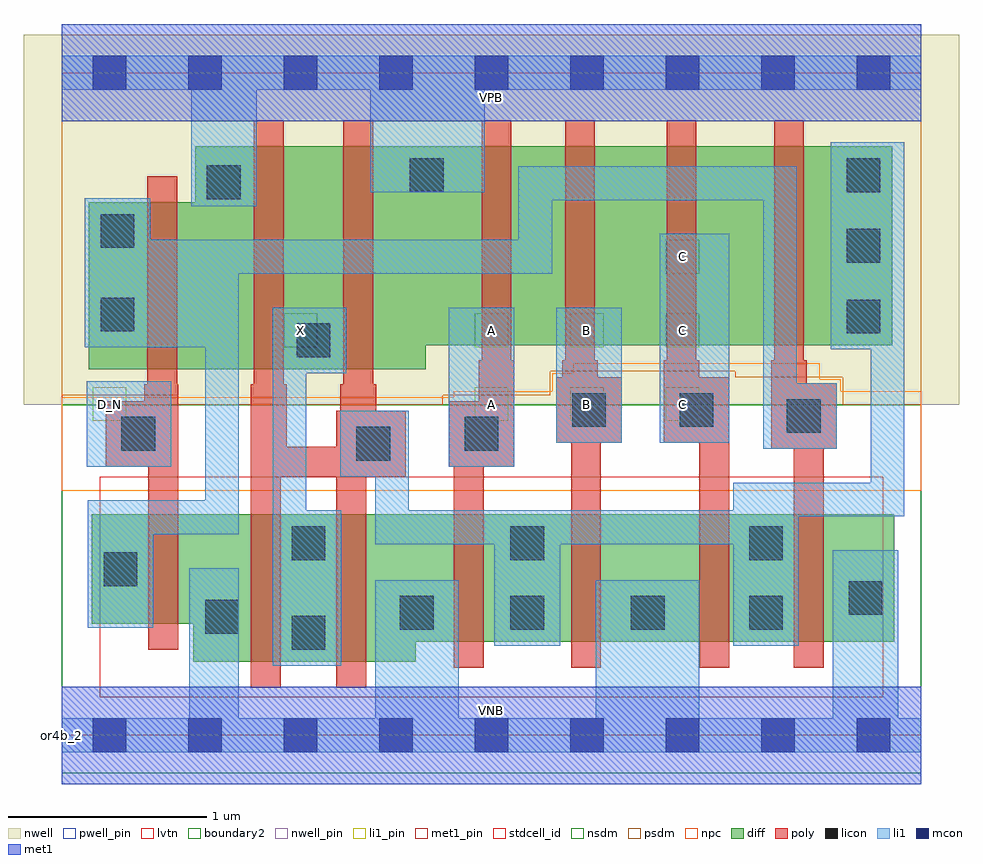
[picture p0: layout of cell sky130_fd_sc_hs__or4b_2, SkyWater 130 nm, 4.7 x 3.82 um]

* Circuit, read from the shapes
.subckt sky130_fd_sc_hs__or4b_2 A B C D_N VGND VNB VPB VPWR X
XM1 VGND D_N n1 VNB sky130_fd_pr__nfet_01v8_lvt w=0.55 l=0.15
XM2 X n2 VGND VNB sky130_fd_pr__nfet_01v8_lvt w=0.74 l=0.15 m=2
XM3 n2 A VGND VNB sky130_fd_pr__nfet_01v8_lvt w=0.64 l=0.15
XM4 VGND B n2 VNB sky130_fd_pr__nfet_01v8_lvt w=0.64 l=0.15
XM5 n2 C VGND VNB sky130_fd_pr__nfet_01v8_lvt w=0.64 l=0.15
XM6 VGND n1 n2 VNB sky130_fd_pr__nfet_01v8_lvt w=0.64 l=0.15
XM7 VPWR D_N n1 VPB sky130_fd_pr__pfet_01v8 w=0.84 l=0.15
XM8 X n2 VPWR VPB sky130_fd_pr__pfet_01v8 w=1.12 l=0.15 m=2
XM9 n3 A VPWR VPB sky130_fd_pr__pfet_01v8 w=1 l=0.15
XM10 n4 B n3 VPB sky130_fd_pr__pfet_01v8 w=1 l=0.15
XM11 n5 C n4 VPB sky130_fd_pr__pfet_01v8 w=1 l=0.15
XM12 n2 n1 n5 VPB sky130_fd_pr__pfet_01v8 w=1 l=0.15
.ends

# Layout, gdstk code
import gdstk
lib = gdstk.Library(unit=1e-6, precision=1e-09)
def R(c, l, rs):  # rectangles x0, y0, x1, y1
    for r in rs: c.add(gdstk.rectangle(r[:2], r[2:], *l))
def A(c, l, x, y, w, h, nx, ny, dx, dy):  # array of equal rectangles
    R(c, l, [(x+i*dx, y+j*dy, x+i*dx+w, y+j*dy+h) for i in range(nx) for j in range(ny)])
def P(c, l, *ps):  # polygons
    for p in ps: c.add(gdstk.Polygon(p, *l))
nwell_pin = (64, 16)
nwell = (64, 20)
diff = (65, 20)
poly = (66, 20)
licon = (66, 44)
li1_pin = (67, 16)
li1 = (67, 20)
mcon = (67, 44)
met1_pin = (68, 16)
met1 = (68, 20)
stdcell_id = (81, 4)
nsdm = (93, 44)
psdm = (94, 20)
npc = (95, 20)
pwell_pin = (122, 16)
lvtn = (125, 44)
boundary2 = (236, 0)

sky130_fd_sc_hs__or4b_2 = lib.new_cell('sky130_fd_sc_hs__or4b_2')
R(sky130_fd_sc_hs__or4b_2, nwell_pin, [(0,3.085,4.32,3.33)])
R(sky130_fd_sc_hs__or4b_2, nwell, [(-0.19,1.66,4.51,3.52)])
P(sky130_fd_sc_hs__or4b_2, diff, [(4.175,2.96),(0.67,2.96),(0.67,2.68),(0.135,2.68),(0.135,1.84),(1.83,1.84),(1.83,1.96),(4.175,1.96)],
  [(4.185,1.11),(0.15,1.11),(0.15,0.56),(0.66,0.56),(0.66,0.37),(1.78,0.37),(1.78,0.47),(4.185,0.47)])
P(sky130_fd_sc_hs__or4b_2, poly, [(3.895,1.77),(3.745,1.77),(3.745,1.885),(3.73,1.885),(3.73,3.09),(3.58,3.09),(3.58,1.885),(3.565,1.885),(3.565,1.44),(3.68,1.44),(3.68,0.34),(3.83,0.34),(3.83,1.44),(3.895,1.44)],
  [(3.355,1.8),(3.205,1.8),(3.205,1.885),(3.19,1.885),(3.19,3.09),(3.04,3.09),(3.04,1.885),(3.025,1.885),(3.025,1.47),(3.205,1.47),(3.205,0.34),(3.355,0.34)],
  [(2.815,1.8),(2.695,1.8),(2.695,1.885),(2.68,1.885),(2.68,3.09),(2.53,3.09),(2.53,1.885),(2.515,1.885),(2.515,1.8),(2.485,1.8),(2.485,1.47),(2.56,1.47),(2.56,0.34),(2.71,0.34),(2.71,1.47),(2.815,1.47)],
  [(2.275,1.885),(2.26,1.885),(2.26,3.09),(2.11,3.09),(2.11,1.885),(2.095,1.885),(2.095,1.68),(1.945,1.68),(1.945,1.35),(1.97,1.35),(1.97,0.34),(2.12,0.34),(2.12,1.35),(2.275,1.35)],
  [(1.73,1.63),(1.58,1.63),(1.58,1.765),(1.565,1.765),(1.565,3.09),(1.415,3.09),(1.415,1.765),(1.4,1.765),(1.4,1.63),(1.38,1.63),(1.38,1.45),(1.13,1.45),(1.13,1.765),(1.115,1.765),(1.115,3.09),(0.965,3.09),(0.965,1.765),(0.95,1.765),(0.95,0.24),(1.1,0.24),(1.1,1.3),(1.38,1.3),(1.38,0.24),(1.53,0.24),(1.53,1.3),(1.73,1.3)],
  [(0.585,1.765),(0.58,1.765),(0.58,2.81),(0.43,2.81),(0.43,1.765),(0.415,1.765),(0.415,1.68),(0.22,1.68),(0.22,1.35),(0.435,1.35),(0.435,0.43),(0.585,0.43)])
A(sky130_fd_sc_hs__or4b_2, licon, 3.945, 2.02, 0.17, 0.17, 1, 3, 0, 0.355)
R(sky130_fd_sc_hs__or4b_2, licon, [(1.155,0.43,1.325,0.6), (0.72,0.51,0.89,0.68), (1.7,0.53,1.87,0.7), (2.255,0.53,2.425,0.7), (2.86,0.53,3.03,0.7), (3.455,0.53,3.625,0.7), (3.955,0.605,4.125,0.775), (0.21,0.75,0.38,0.92), (1.155,0.88,1.325,1.05), (2.255,0.88,2.425,1.05), (3.455,0.88,3.625,1.05), (1.48,1.38,1.65,1.55), (0.3,1.43,0.47,1.6), (2.025,1.43,2.195,1.6), (3.645,1.52,3.815,1.69), (2.565,1.55,2.735,1.72), (3.105,1.55,3.275,1.72), (1.18,1.9,1.35,2.07), (0.195,2.03,0.365,2.2), (0.195,2.45,0.365,2.62), (0.73,2.695,0.9,2.865), (1.75,2.73,1.92,2.9)])
A(sky130_fd_sc_hs__or4b_2, li1_pin, 2.075, 1.58, 0.17, 0.17, 3, 2, 0.48, 0.37)
R(sky130_fd_sc_hs__or4b_2, li1_pin, [(0.155,1.58,0.325,1.75), (1.115,1.95,1.285,2.12), (3.035,2.32,3.205,2.49)])
R(sky130_fd_sc_hs__or4b_2, li1, [(0.125,1.35,0.55,1.78), (1.945,1.35,2.275,2.15), (2.485,1.47,2.815,2.15), (3.005,1.47,3.355,2.52)])
P(sky130_fd_sc_hs__or4b_2, li1, [(0,-0.085),(0,0.085),(0.64,0.085),(0.64,0.84),(0.89,0.84),(0.89,0.085),(1.575,0.085),(1.575,0.78),(1.995,0.78),(1.995,0.085),(2.685,0.085),(2.685,0.78),(3.205,0.78),(3.205,0.085),(3.875,0.085),(3.875,0.93),(4.205,0.93),(4.205,0.085),(4.32,0.085),(4.32,-0.085)],
  [(0,3.245),(0,3.415),(4.32,3.415),(4.32,3.245),(2.125,3.245),(2.125,2.73),(1.55,2.73),(1.55,3.245),(0.98,3.245),(0.98,2.66),(0.65,2.66),(0.65,3.245)],
  [(1.43,2.15),(1.43,1.82),(1.23,1.82),(1.23,1.13),(1.405,1.13),(1.405,0.35),(1.06,0.35),(1.06,2.15)],
  [(0.445,2.49),(2.295,2.49),(2.295,2.86),(3.695,2.86),(3.695,1.77),(3.895,1.77),(3.895,1.44),(3.525,1.44),(3.525,2.69),(2.465,2.69),(2.465,2.32),(0.89,2.32),(0.89,1.01),(0.46,1.01),(0.46,0.54),(0.13,0.54),(0.13,1.18),(0.72,1.18),(0.72,1.95),(0.115,1.95),(0.115,2.7),(0.445,2.7)],
  [(4.065,1.27),(4.065,1.94),(3.865,1.94),(3.865,2.98),(4.235,2.98),(4.235,1.1),(3.705,1.1),(3.705,0.45),(3.375,0.45),(3.375,0.96),(2.505,0.96),(2.505,0.45),(2.175,0.45),(2.175,0.96),(1.575,0.96),(1.575,1.3),(1.4,1.3),(1.4,1.63),(1.745,1.63),(1.745,1.13),(3.375,1.13),(3.375,1.27)])
A(sky130_fd_sc_hs__or4b_2, mcon, 0.155, -0.085, 0.17, 0.17, 9, 2, 0.48, 3.33)
R(sky130_fd_sc_hs__or4b_2, met1_pin, [(0,0,4.32,0.245), (0,3.085,4.32,3.33)])
R(sky130_fd_sc_hs__or4b_2, met1, [(0,-0.245,4.32,0.245), (0,3.085,4.32,3.575)])
R(sky130_fd_sc_hs__or4b_2, stdcell_id, [(0,0,4.32,3.33)])
R(sky130_fd_sc_hs__or4b_2, nsdm, [(0,-0.19,4.32,1.66)])
P(sky130_fd_sc_hs__or4b_2, psdm, [(4.32,3.52),(0,3.52),(0,1.71),(0.58,1.71),(0.58,1.66),(1.915,1.66),(1.915,1.71),(2.455,1.71),(2.455,1.83),(3.385,1.83),(3.385,1.8),(3.925,1.8),(3.925,1.66),(4.32,1.66)])
P(sky130_fd_sc_hs__or4b_2, npc, [(4.32,1.73),(3.915,1.73),(3.915,1.79),(3.81,1.79),(3.81,1.87),(2.57,1.87),(2.57,1.82),(2.465,1.82),(2.465,1.73),(1.97,1.73),(1.97,1.7),(0,1.7),(0,1.23),(4.32,1.23)])
R(sky130_fd_sc_hs__or4b_2, pwell_pin, [(0,0,4.32,0.245)])
R(sky130_fd_sc_hs__or4b_2, lvtn, [(0.19,0.19,4.13,1.3)])
R(sky130_fd_sc_hs__or4b_2, boundary2, [(0,0,4.32,3.33)])
sky130_fd_sc_hs__or4b_2.add(gdstk.Label('or4b_2', (0,0), layer=83, texttype=44))
sky130_fd_sc_hs__or4b_2.add(gdstk.Label('VNB', (2.16,0.123), layer=64, texttype=59))
sky130_fd_sc_hs__or4b_2.add(gdstk.Label('VPB', (2.16,3.208), layer=64, texttype=5))
sky130_fd_sc_hs__or4b_2.add(gdstk.Label('VPWR', (2.16,3.208), layer=68, texttype=5))
sky130_fd_sc_hs__or4b_2.add(gdstk.Label('VGND', (2.16,0.123), layer=68, texttype=5))
sky130_fd_sc_hs__or4b_2.add(gdstk.Label('A', (2.16,1.665), layer=67, texttype=5))
sky130_fd_sc_hs__or4b_2.add(gdstk.Label('A', (2.16,2.035), layer=67, texttype=5))
sky130_fd_sc_hs__or4b_2.add(gdstk.Label('B', (2.64,1.665), layer=67, texttype=5))
sky130_fd_sc_hs__or4b_2.add(gdstk.Label('B', (2.64,2.035), layer=67, texttype=5))
sky130_fd_sc_hs__or4b_2.add(gdstk.Label('C', (3.12,1.665), layer=67, texttype=5))
sky130_fd_sc_hs__or4b_2.add(gdstk.Label('C', (3.12,2.035), layer=67, texttype=5))
sky130_fd_sc_hs__or4b_2.add(gdstk.Label('C', (3.12,2.405), layer=67, texttype=5))
sky130_fd_sc_hs__or4b_2.add(gdstk.Label('D_N', (0.24,1.665), layer=67, texttype=5))
sky130_fd_sc_hs__or4b_2.add(gdstk.Label('X', (1.2,2.035), layer=67, texttype=5))

lib.write_gds('sky130_fd_sc_hs__or4b_2.gds')
